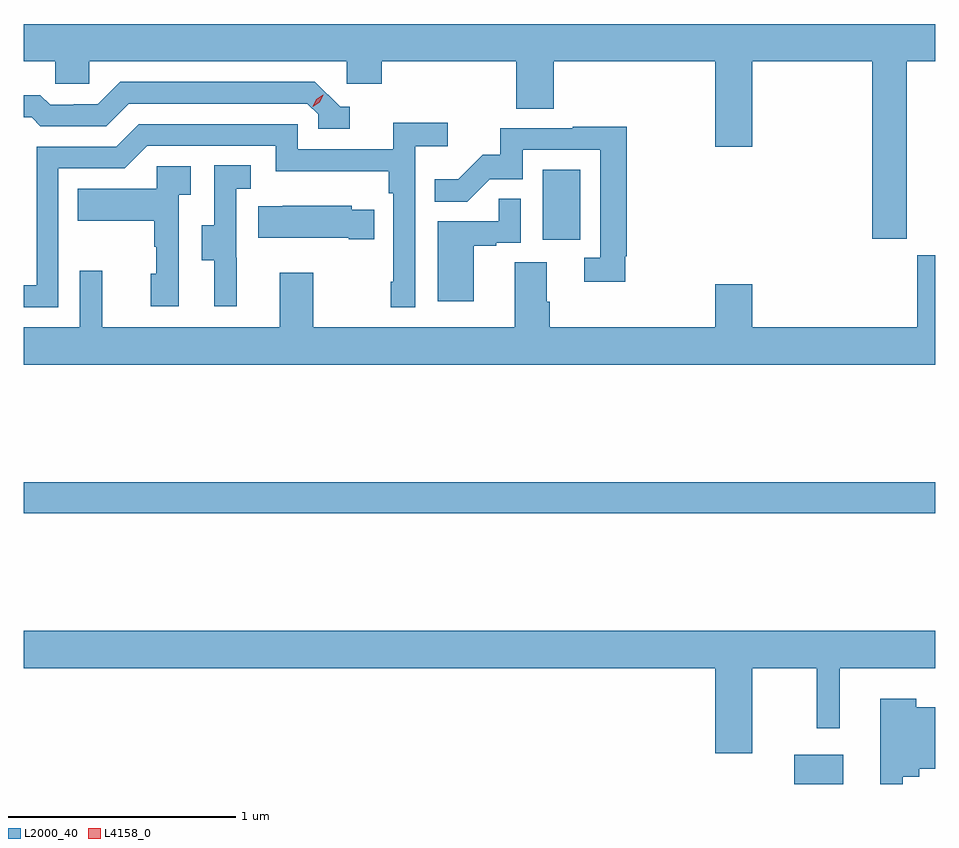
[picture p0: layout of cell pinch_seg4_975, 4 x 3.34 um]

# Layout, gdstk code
import gdstk
lib = gdstk.Library(unit=1e-6, precision=1e-09)
def R(c, l, rs):  # rectangles x0, y0, x1, y1
    for r in rs: c.add(gdstk.rectangle(r[:2], r[2:], *l))
def P(c, l, *ps):  # polygons
    for p in ps: c.add(gdstk.Polygon(p, *l))
L2000_40 = (2000, 40)
L4158_0 = (4158, 0)

pinch_seg4_975 = lib.new_cell('pinch_seg4_975')
R(pinch_seg4_975, L2000_40, [(848.672,780.328,848.887,780.457), (845.29,781.516,849.29,781.652), (847.568,782.718,847.732,783.025)])
P(pinch_seg4_975, L2000_40, [(849.166,783.5),(849.29,783.5),(849.29,783.664),(845.29,783.664),(845.29,783.5),(845.427,783.5),(845.427,783.402),(845.577,783.402),(845.577,783.5),(846.708,783.5),(846.708,783.402),(846.86,783.402),(846.86,783.5),(847.451,783.5),(847.451,783.292),(847.616,783.292),(847.616,783.5),(848.324,783.5),(848.324,783.126),(848.488,783.126),(848.488,783.5),(849.014,783.5),(849.014,782.721),(849.166,782.721)],
  [(846.721,783.3),(846.678,783.3),(846.567,783.411),(845.714,783.411),(845.615,783.312),(845.508,783.312),(845.508,783.309),(845.405,783.309),(845.363,783.352),(845.29,783.352),(845.29,783.255),(845.324,783.255),(845.363,783.216),(845.652,783.216),(845.751,783.315),(846.534,783.315),(846.582,783.267),(846.582,783.204),(846.721,783.204)],
  [(845.442,783.03),(845.733,783.03),(845.832,783.129),(846.396,783.129),(846.396,783.017),(846.892,783.017),(846.892,782.921),(846.912,782.921),(846.912,782.533),(846.9,782.533),(846.9,782.421),(847.008,782.421),(847.008,783.128),(847.15,783.128),(847.15,783.23),(846.911,783.23),(846.911,783.114),(846.492,783.114),(846.492,783.225),(845.795,783.225),(845.696,783.126),(845.346,783.126),(845.346,782.517),(845.29,782.517),(845.29,782.421),(845.442,782.421)],
  [(847.93,782.644),(847.937,782.644),(847.937,783.212),(847.699,783.212),(847.699,783.207),(847.381,783.207),(847.381,783.09),(847.304,783.09),(847.197,782.983),(847.093,782.983),(847.093,782.884),(847.237,782.884),(847.335,782.982),(847.479,782.982),(847.479,783.111),(847.821,783.111),(847.821,782.637),(847.749,782.637),(847.749,782.532),(847.93,782.532)],
  [(846.224,782.637),(846.222,782.637),(846.222,782.941),(846.286,782.941),(846.286,783.044),(846.126,783.044),(846.126,782.781),(846.071,782.781),(846.071,782.626),(846.125,782.626),(846.125,782.424),(846.224,782.424)],
  [(845.97,782.915),(846.022,782.915),(846.022,783.039),(845.874,783.039),(845.874,782.941),(845.527,782.941),(845.527,782.801),(845.862,782.801),(845.862,782.687),(845.872,782.687),(845.872,782.568),(845.846,782.568),(845.846,782.424),(845.97,782.424)],
  [(847.264,782.691),(847.364,782.691),(847.364,782.703),(847.47,782.703),(847.47,782.897),(847.375,782.897),(847.375,782.799),(847.106,782.799),(847.106,782.448),(847.264,782.448)],
  [(846.827,782.848),(846.729,782.848),(846.729,782.866),(846.427,782.866),(846.427,782.863),(846.319,782.863),(846.319,782.726),(846.716,782.726),(846.716,782.719),(846.827,782.719)],
  [(847.585,782.444),(847.585,782.618),(847.445,782.618),(847.445,782.332),(846.561,782.332),(846.561,782.572),(846.413,782.572),(846.413,782.332),(845.633,782.332),(845.633,782.581),(845.535,782.581),(845.535,782.332),(845.29,782.332),(845.29,782.168),(849.29,782.168),(849.29,782.649),(849.212,782.649),(849.212,782.332),(848.488,782.332),(848.488,782.521),(848.324,782.521),(848.324,782.332),(847.598,782.332),(847.598,782.444)],
  [(848.488,780.836),(848.77,780.836),(848.77,780.573),(848.872,780.573),(848.872,780.836),(849.29,780.836),(849.29,781),(845.29,781),(845.29,780.836),(848.324,780.836),(848.324,780.462),(848.488,780.462)],
  [(849.147,780.359),(849.221,780.359),(849.221,780.395),(849.29,780.395),(849.29,780.664),(849.208,780.664),(849.208,780.703),(849.05,780.703),(849.05,780.328),(849.147,780.328)])
P(pinch_seg4_975, L4158_0, [(846.558,783.301),(846.558,783.302),(846.574,783.334),(846.604,783.354),(846.605,783.354),(846.605,783.353),(846.589,783.321),(846.558,783.301)])

lib.write_gds('pinch_seg4_975.gds')
